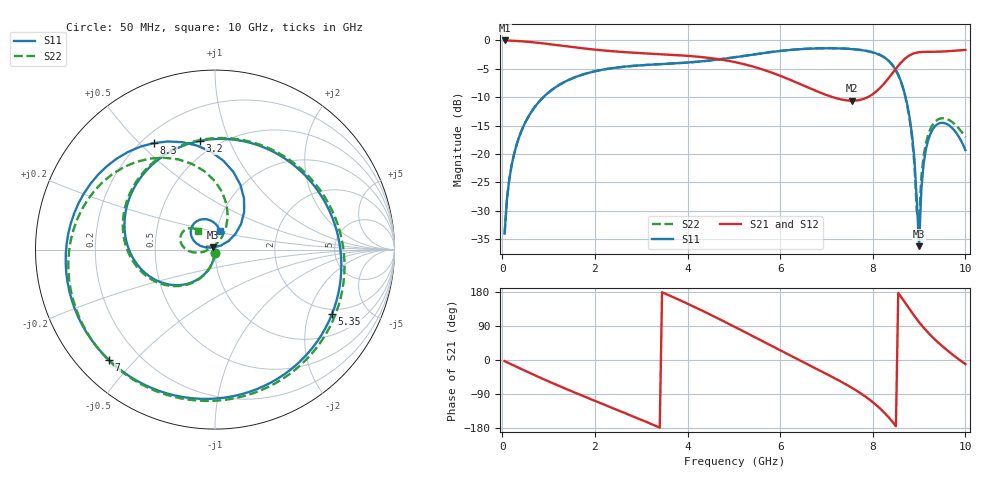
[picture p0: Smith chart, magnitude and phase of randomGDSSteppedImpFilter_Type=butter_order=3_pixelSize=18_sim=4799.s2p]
! freq	dB(S11)	phase(S11)	dB(S12)	phase(S12)
!  dB(S21)	phase(S21)	dB(S22)	phase(S22)
!S-par simulation data
#  GHz  S  DB  R 50
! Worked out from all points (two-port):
!   200 points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, 50 MHz to 10 GHz, reference 50 ohm
!   highest |S21| = 0.00 dB at 50 MHz (marker M1); lowest = -10.6 dB at 7.55 GHz (marker M2)
!   |S21| within 3 dB of the highest: start of sweep to 4.384 GHz; 8.728 GHz to end of sweep
!   lowest |S11| = -36.3 dB at 9 GHz (marker M3), VSWR 1.03, Z = 49 + j1.16 ohm
!   |S11| at or under -10 dB: start of sweep to 887.2 MHz; 8.708 GHz to end of sweep
!   |S22| runs from -34.0 to -1.4 dB; largest |S21 - S12| = 0
!   S11 on the Smith chart (normalised r, x): 50 MHz: 1.00, -0.04; 3.2 GHz: 0.41, +0.78; 5.35 GHz: 1.78, -2.87; 7 GHz: 0.09, -0.42; 8.3 GHz: 0.25, +0.55; 10 GHz: 1.03, +0.22
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0.05  -34.05 -92.9  -0.00 -2.9  -0.00 -2.9  -34.05 -92.8
0.2  -22.07 -102.2  -0.04 -11.7  -0.04 -11.7  -22.07 -101.8
0.5  -14.40 -119.9  -0.20 -28.9  -0.20 -28.9  -14.40 -119.0
1.75  -5.98 172.4  -1.40 -95.3  -1.40 -95.3  -5.98 175.8
3.2  -4.28 97.9  -2.33 -168.0  -2.33 -168.0  -4.27 105.1
3.4  -4.19 87.2  -2.42 -178.5  -2.42 -178.5  -4.18 94.9
4.35  -3.65 33.0  -2.97 128.3  -2.97 128.3  -3.65 42.9
5.05  -2.93 -9.9  -3.87 85.5  -3.87 85.5  -2.92 0.7
5.35  -2.56 -28.9  -4.46 66.6  -4.46 66.6  -2.55 -18.2
6.1  -1.77 -76.6  -6.55 19.1  -6.55 19.1  -1.75 -65.8
6.7  -1.43 -114.6  -8.63 -18.2  -8.63 -18.2  -1.41 -103.2
7  -1.38 -133.8  -9.62 -36.8  -9.62 -36.8  -1.35 -121.9
7.55  -1.53 -171.2  -10.63 -73.4  -10.63 -73.4  -1.50 -157.5
8.3  -3.29 119.9  -7.07 -145.5  -7.07 -145.5  -3.29 137.9
8.35  -3.65 113.5  -6.56 -152.3  -6.56 -152.3  -3.65 131.9
8.8  -13.81 44.5  -2.60 133.1  -2.60 133.1  -14.17 68.7
8.9  -21.01 32.3  -2.25 115.9  -2.25 115.9  -21.98 61.0
8.95  -28.14 34.8  -2.15 107.7  -2.15 107.7  -30.08 75.6
9  -36.26 129.7  -2.08 99.8  -2.08 99.8  -31.28 171.9
9.1  -21.63 165.8  -2.02 85.0  -2.02 85.0  -20.26 -169.6
9.25  -16.35 150.2  -2.00 65.2  -2.00 65.2  -15.50 177.9
10  -19.31 76.0  -1.67 -11.0  -1.67 -11.0  -17.05 131.7
